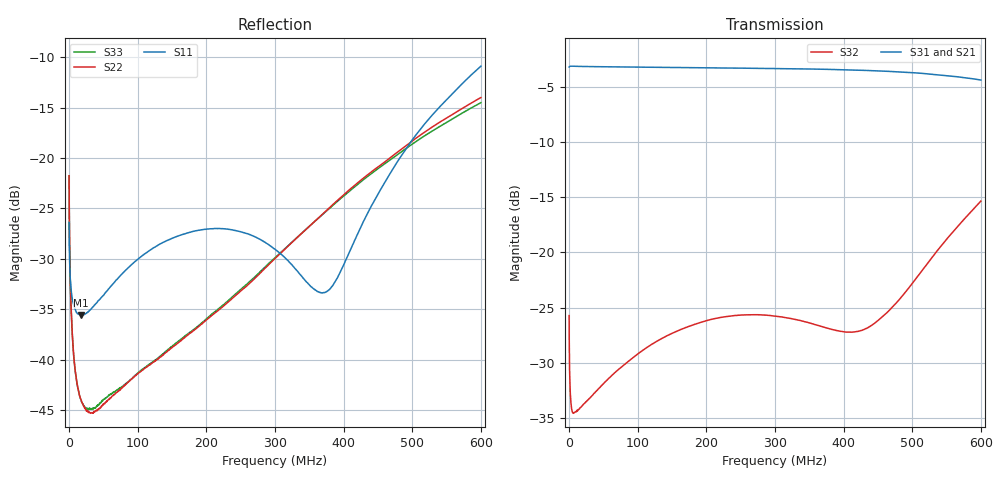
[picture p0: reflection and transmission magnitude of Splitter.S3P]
!Mini-Circuits Laboratory
!S-Parameters
!Model:ADP-2-1+
!Run/Lot/Date Code:MB58860/na/0904
!Fixture/SN/Due:90-1-20-120/62403/07.06.09
!Connection:PORT<1>(SUM PORT) - pin<1>;  PORT<2>(OUT 1) - pin<3>;  PORT<3>(OUT 2) - pin<4>;  GROUND - pin<6>;  EXTERNALLY CONNECTED TOGETHER & ISOLATED - pin<2,5>
!AUTO PORT EXTENSION DONE: PORT<1>=135.1ps; PORT<2>=135.9ps; PORT<3>=135.9ps
!Agilent Technologies,E5071B,MY42302180,A.09.10
!Date: Tue Mar 31 08:33:29 2009
# Hz S dB R 50
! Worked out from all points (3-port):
!   1202 points, 300 kHz to 600 MHz, reference 50 ohm
!   strongest paths, dB at 300 kHz, 149.5 MHz, 300 MHz, 450 MHz, 600 MHz:
!     S31: -3.2, -3.3, -3.4, -3.6, -4.4
!     S21: -3.2, -3.3, -3.4, -3.6, -4.4
!     S32: -25.7, -27.3, -25.7, -26.2, -15.4
!   lowest |S11| = -35.6 dB at 18 MHz (marker M1), VSWR 1.03, Z = 48.9 + j1.19 ohm
!   |S11| at or under -10 dB: start of sweep to end of sweep
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300000  -26.39 134.7  -3.24 1.8  -3.23 1.9
        -3.24 1.9  -21.76 117.2  -25.55 -45.4
        -3.24 2.1  -25.71 -45.9  -21.78 116.8
3500000  -33.24 149.6  -3.16 -0.3  -3.16 -0.3
         -3.16 -0.3  -35.32 110.3  -33.89 -13.9
         -3.16 -0.3  -33.93 -14.0  -35.43 108.2
6000000  -34.32 148.2  -3.16 -0.9  -3.17 -0.8
         -3.16 -0.8  -38.66 103.3  -34.50 -4.8
         -3.16 -0.8  -34.52 -4.8  -38.74 100.3
1.8e7  -35.57 133.1  -3.18 -2.6  -3.19 -2.6
       -3.18 -2.6  -44.00 77.0  -33.99 13.4
       -3.18 -2.6  -33.96 13.6  -44.08 72.7
3.85e7  -34.50 111.4  -3.20 -5.4  -3.20 -5.4
        -3.20 -5.4  -45.08 46.2  -32.62 26.7
        -3.20 -5.4  -32.63 26.7  -44.81 44.2
1.64e8  -27.61 61.1  -3.29 -22.2  -3.29 -22.2
        -3.30 -22.1  -38.06 -32.4  -26.93 48.4
        -3.28 -22.2  -26.94 48.5  -37.94 -27.7
3.005e8  -29.07 20.1  -3.39 -41.5  -3.38 -41.6
         -3.40 -41.5  -29.94 -92.2  -25.72 54.2
         -3.37 -41.6  -25.76 54.1  -29.87 -86.0
3.785e8  -33.09 -64.4  -3.48 -53.9  -3.45 -53.9
         -3.48 -53.9  -24.99 -117.6  -26.86 68.7
         -3.45 -53.9  -26.88 68.8  -25.04 -110.9
4.54e8  -23.12 -138.4  -3.63 -67.3  -3.60 -67.2
        -3.63 -67.3  -20.69 -138.7  -25.94 106.1
        -3.60 -67.2  -25.95 106.4  -20.86 -132.1
6e8  -10.90 173.4  -4.45 -99.4  -4.42 -98.9
     -4.45 -99.4  -14.01 -177.0  -15.37 130.8
     -4.41 -98.9  -15.35 130.8  -14.52 -171.0
